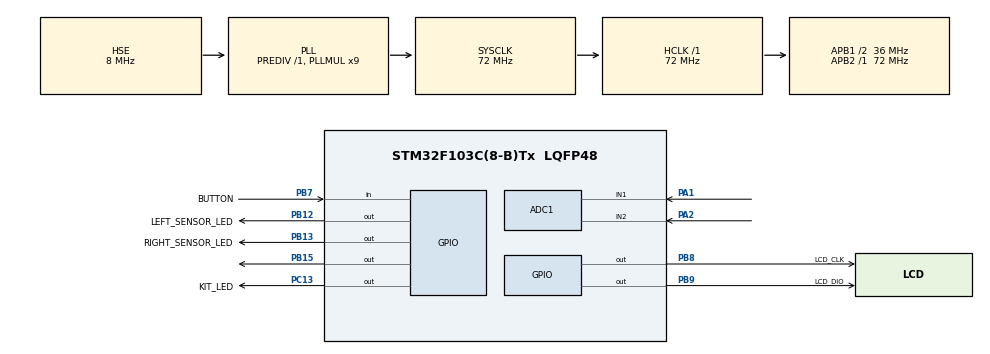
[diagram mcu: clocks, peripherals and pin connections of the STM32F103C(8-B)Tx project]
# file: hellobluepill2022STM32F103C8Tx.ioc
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ADC1.Channel-4\#ChannelRegularConversion=ADC_CHANNEL_1
ADC1.Channel-5\#ChannelRegularConversion=ADC_CHANNEL_2
ADC1.ContinuousConvMode=DISABLE
ADC1.EnableInjectedConversion=DISABLE
ADC1.EnableRegularConversion=ENABLE
ADC1.ExternalTrigConv=ADC_EXTERNALTRIGCONV_T3_TRGO
ADC1.NbrOfConversion=2
ADC1.NbrOfConversionFlag=1
ADC1.Rank-4\#ChannelRegularConversion=1
ADC1.Rank-5\#ChannelRegularConversion=2
ADC1.SamplingTime-4\#ChannelRegularConversion=ADC_SAMPLETIME_1CYCLE_5
ADC1.SamplingTime-5\#ChannelRegularConversion=ADC_SAMPLETIME_1CYCLE_5
ADC1.master=1
Dma.ADC1.0.Direction=DMA_PERIPH_TO_MEMORY
Dma.ADC1.0.Instance=DMA1_Channel1
Dma.ADC1.0.MemDataAlignment=DMA_MDATAALIGN_WORD
Dma.ADC1.0.MemInc=DMA_MINC_ENABLE
Dma.ADC1.0.Mode=DMA_CIRCULAR
Dma.ADC1.0.PeriphDataAlignment=DMA_PDATAALIGN_WORD
Dma.ADC1.0.PeriphInc=DMA_PINC_DISABLE
Dma.ADC1.0.Priority=DMA_PRIORITY_MEDIUM
Dma.Request0=ADC1
FREERTOS.BinarySemaphores01=MainStateSemaphore,Static,myBinarySem01ControlBlock
FREERTOS.Events01=CounterEvents,Static,CounterEventsControlBlock
FREERTOS.Tasks01=defaultTask,24,128,StartDefaultTask,Default,NULL,Static,defaultTaskBuffer,defaultTaskControlBlock;MainTask,10,128,MainTaskCode,As external,NULL,Static,MainTaskBuffer,MainTaskControlBlock;DebounceTask,10,256,DebounceTaskCode,As external,NULL,Static,DebounceTaskBuffer,DebounceTaskControlBlock;EventHandlerTas,11,256,EventHandlerTaskCode,As external,NULL,Static,EventHandlerTasBuffer,EventHandlerTasControlBlock
FREERTOS.Timers01=EventTaskTimer,EventTaskTimerCallback,osTimerOnce,As external,NULL,Static,EventTaskTimerControlBlock
Mcu.Family=STM32F1
Mcu.Name=STM32F103C(8-B)Tx
Mcu.Package=LQFP48
NVIC.DMA1_Channel1_IRQn=true\:5\:0\:false\:false\:true\:true\:false\:true\:true
NVIC.PriorityGroup=NVIC_PRIORITYGROUP_4
NVIC.TIM2_IRQn=true\:5\:0\:false\:false\:true\:true\:true\:true\:true
NVIC.TIM4_IRQn=true\:15\:0\:false\:false\:true\:false\:false\:true\:true
NVIC.TimeBase=TIM4_IRQn
NVIC.TimeBaseIP=TIM4
PA1.Signal=ADCx_IN1
PA13.Mode=Serial_Wire
PA13.Signal=SYS_JTMS-SWDIO
PA14.Mode=Serial_Wire
PA14.Signal=SYS_JTCK-SWCLK
PA2.Signal=ADCx_IN2
PB12.GPIO_Label=LEFT_SENSOR_LED
PB12.Signal=GPIO_Output
PB13.GPIO_Label=RIGHT_SENSOR_LED
PB13.Signal=GPIO_Output
PB15.Signal=GPIO_Output
PB7.GPIO_Label=BUTTON
PB7.GPIO_PuPd=GPIO_PULLUP
PB7.Signal=GPIO_Input
PB8.GPIO_Label=LCD_CLK
PB8.GPIO_ModeDefaultOutputPP=GPIO_MODE_OUTPUT_OD
PB8.GPIO_PuPd=GPIO_PULLUP
PB8.GPIO_Speed=GPIO_SPEED_FREQ_HIGH
PB8.Signal=GPIO_Output
PB9.GPIO_Label=LCD_DIO
PB9.GPIO_ModeDefaultOutputPP=GPIO_MODE_OUTPUT_OD
PB9.GPIO_PuPd=GPIO_PULLUP
PB9.GPIO_Speed=GPIO_SPEED_FREQ_HIGH
PB9.Signal=GPIO_Output
PC13-TAMPER-RTC.GPIO_Label=KIT_LED
PC13-TAMPER-RTC.Signal=GPIO_Output
PC14-OSC32_IN.Mode=LSE-External-Oscillator
PC14-OSC32_IN.Signal=RCC_OSC32_IN
PC15-OSC32_OUT.Mode=LSE-External-Oscillator
PC15-OSC32_OUT.Signal=RCC_OSC32_OUT
PD0-OSC_IN.Mode=HSE-External-Oscillator
PD0-OSC_IN.Signal=RCC_OSC_IN
PD1-OSC_OUT.Mode=HSE-External-Oscillator
PD1-OSC_OUT.Signal=RCC_OSC_OUT
ProjectManager.HeapSize=0x200
ProjectManager.StackSize=0x400
ProjectManager.TargetToolchain=Makefile
RCC.ADCPresc=RCC_ADCPCLK2_DIV6
RCC.AHBFreq_Value=72000000
RCC.APB1CLKDivider=RCC_HCLK_DIV2
RCC.APB1Freq_Value=36000000
RCC.APB1TimFreq_Value=72000000
RCC.APB2Freq_Value=72000000
RCC.APB2TimFreq_Value=72000000
RCC.HCLKFreq_Value=72000000
RCC.PLLMUL=RCC_PLL_MUL9
RCC.PLLSourceVirtual=RCC_PLLSOURCE_HSE
RCC.SYSCLKFreq_VALUE=72000000
RCC.SYSCLKSource=RCC_SYSCLKSOURCE_PLLCLK
RCC.USBFreq_Value=48000000
RCC.USBPrescaler=RCC_USBCLKSOURCE_PLL_DIV1_5
SH.ADCx_IN1.0=ADC1_IN1,IN1
SH.ADCx_IN2.0=ADC1_IN2,IN2
TIM2.Period=65532
TIM2.Prescaler=10987-1
TIM2.TIM_MasterOutputTrigger=TIM_TRGO_OC1REF
TIM3.AutoReloadPreload=TIM_AUTORELOAD_PRELOAD_ENABLE
TIM3.Period=1000
TIM3.Prescaler=72-1
TIM3.TIM_MasterOutputTrigger=TIM_TRGO_UPDATE
VP_FREERTOS_VS_CMSIS_V2.Mode=CMSIS_V2
VP_SYS_VS_tim4.Mode=TIM4
VP_TIM2_VS_ClockSourceINT.Mode=Internal
VP_TIM3_VS_ClockSourceINT.Mode=Internal
board=custom

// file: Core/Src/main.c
/* USER CODE BEGIN Header */
/**
  ******************************************************************************
  * @file           : main.c
  * @brief          : Main program body
  ******************************************************************************
  * @attention
  *
  * Copyright (c) 2022 STMicroelectronics.
  * All rights reserved.
  *
  * This software is licensed under terms that can be found in the LICENSE file
  * in the root directory of this software component.
  * If no LICENSE file comes with this software, it is provided AS-IS.
  *
  ******************************************************************************
  */
/* USER CODE END Header */
#include "main.h"
#include "cmsis_os.h"

/* USER CODE BEGIN Includes */
volatile uint32_t gReads[2];
volatile uint32_t test=0;
/* USER CODE END Includes */

typedef StaticTask_t osStaticThreadDef_t;
typedef StaticTimer_t osStaticTimerDef_t;
typedef StaticSemaphore_t osStaticSemaphoreDef_t;
typedef StaticEventGroup_t osStaticEventGroupDef_t;

ADC_HandleTypeDef hadc1;
DMA_HandleTypeDef hdma_adc1;

TIM_HandleTypeDef htim2;
TIM_HandleTypeDef htim3;

/* Definitions for defaultTask */
osThreadId_t defaultTaskHandle;
uint32_t defaultTaskBuffer[ 128 ];
osStaticThreadDef_t defaultTaskControlBlock;
const osThreadAttr_t defaultTask_attributes = {
  .name = "defaultTask",
  .cb_mem = &defaultTaskControlBlock,
  .cb_size = sizeof(defaultTaskControlBlock),
  .stack_mem = &defaultTaskBuffer[0],
  .stack_size = sizeof(defaultTaskBuffer),
  .priority = (osPriority_t) osPriorityNormal,
};
/* Definitions for MainTask */
osThreadId_t MainTaskHandle;
uint32_t MainTaskBuffer[ 128 ];
osStaticThreadDef_t MainTaskControlBlock;
const osThreadAttr_t MainTask_attributes = {
  .name = "MainTask",
  .cb_mem = &MainTaskControlBlock,
  .cb_size = sizeof(MainTaskControlBlock),
  .stack_mem = &MainTaskBuffer[0],
  .stack_size = sizeof(MainTaskBuffer),
  .priority = (osPriority_t) osPriorityLow2,
};
/* Definitions for DebounceTask */
osThreadId_t DebounceTaskHandle;
uint32_t DebounceTaskBuffer[ 256 ];
osStaticThreadDef_t DebounceTaskControlBlock;
const osThreadAttr_t DebounceTask_attributes = {
  .name = "DebounceTask",
  .cb_mem = &DebounceTaskControlBlock,
  .cb_size = sizeof(DebounceTaskControlBlock),
  .stack_mem = &DebounceTaskBuffer[0],
  .stack_size = sizeof(DebounceTaskBuffer),
  .priority = (osPriority_t) osPriorityLow2,
};
/* Definitions for EventHandlerTas */
osThreadId_t EventHandlerTasHandle;
uint32_t EventHandlerTasBuffer[ 256 ];
osStaticThreadDef_t EventHandlerTasControlBlock;
const osThreadAttr_t EventHandlerTas_attributes = {
  .name = "EventHandlerTas",
  .cb_mem = &EventHandlerTasControlBlock,
  .cb_size = sizeof(EventHandlerTasControlBlock),
  .stack_mem = &EventHandlerTasBuffer[0],
  .stack_size = sizeof(EventHandlerTasBuffer),
  .priority = (osPriority_t) osPriorityLow3,
};
/* Definitions for EventTaskTimer */
osTimerId_t EventTaskTimerHandle;
osStaticTimerDef_t EventTaskTimerControlBlock;
const osTimerAttr_t EventTaskTimer_attributes = {
  .name = "EventTaskTimer",
  .cb_mem = &EventTaskTimerControlBlock,
  .cb_size = sizeof(EventTaskTimerControlBlock),
};
/* Definitions for MainStateSemaphore */
osSemaphoreId_t MainStateSemaphoreHandle;
osStaticSemaphoreDef_t myBinarySem01ControlBlock;
const osSemaphoreAttr_t MainStateSemaphore_attributes = {
  .name = "MainStateSemaphore",
  .cb_mem = &myBinarySem01ControlBlock,
  .cb_size = sizeof(myBinarySem01ControlBlock),
};
/* Definitions for CounterEvents */
osEventFlagsId_t CounterEventsHandle;
osStaticEventGroupDef_t CounterEventsControlBlock;
const osEventFlagsAttr_t CounterEvents_attributes = {
  .name = "CounterEvents",
  .cb_mem = &CounterEventsControlBlock,
  .cb_size = sizeof(CounterEventsControlBlock),
};

void SystemClock_Config(void);
static void MX_GPIO_Init(void);
static void MX_DMA_Init(void);
static void MX_TIM3_Init(void);
static void MX_ADC1_Init(void);
static void MX_TIM2_Init(void);
void StartDefaultTask(void *argument);
extern void MainTaskCode(void *argument);
extern void DebounceTaskCode(void *argument);
extern void EventHandlerTaskCode(void *argument);
extern void EventTaskTimerCallback(void *argument);

/* USER CODE BEGIN 0 */
extern volatile uint32_t gSensorTime[2];
const volatile int uxTopUsedPriority = configMAX_PRIORITIES - 1;
/* USER CODE END 0 */

int main(void)
{
  /* USER CODE BEGIN 1 */
  (void)uxTopUsedPriority; //this declaration enables thread awareness for FreeRTOS using OpenOCD
  uint32_t i;
  /* USER CODE END 1 */

  /* MCU Configuration--------------------------------------------------------*/

  /* Reset of all peripherals, Initializes the Flash interface and the Systick. */
  HAL_Init();

  /* Configure the system clock */
  SystemClock_Config();

  /* Initialize all configured peripherals */
  MX_GPIO_Init();
  MX_DMA_Init();
  MX_TIM3_Init();
  MX_ADC1_Init();
  MX_TIM2_Init();
  /* USER CODE BEGIN 2 */
  HAL_TIM_Base_Start(&htim3);
  HAL_ADC_Start_DMA(&hadc1, (uint32_t *)gReads, 2);
  /* USER CODE END 2 */

  /* Init scheduler */
  osKernelInitialize();

  /* Create the semaphores(s) */
  /* creation of MainStateSemaphore */
  MainStateSemaphoreHandle = osSemaphoreNew(1, 1, &MainStateSemaphore_attributes);

  /* Create the timer(s) */
  /* creation of EventTaskTimer */
  EventTaskTimerHandle = osTimerNew(EventTaskTimerCallback, osTimerOnce, NULL, &EventTaskTimer_attributes);

  /* Create the thread(s) */
  /* creation of defaultTask */
  defaultTaskHandle = osThreadNew(StartDefaultTask, NULL, &defaultTask_attributes);

  /* creation of MainTask */
  MainTaskHandle = osThreadNew(MainTaskCode, NULL, &MainTask_attributes);

  /* creation of DebounceTask */
  DebounceTaskHandle = osThreadNew(DebounceTaskCode, NULL, &DebounceTask_attributes);

  /* creation of EventHandlerTas */
  EventHandlerTasHandle = osThreadNew(EventHandlerTaskCode, NULL, &EventHandlerTas_attributes);

  /* Create the event(s) */
  /* creation of CounterEvents */
  CounterEventsHandle = osEventFlagsNew(&CounterEvents_attributes);

  /* Start scheduler */
  osKernelStart();

  /* We should never get here as control is now taken by the scheduler */
  /* Infinite loop */
  /* USER CODE BEGIN WHILE */
  while (1)
  {
    for (i = 0; i < 13; i++)
    {
      HAL_GPIO_WritePin(KIT_LED_GPIO_Port, KIT_LED_Pin, 0);
      HAL_Delay(25);
      HAL_GPIO_WritePin(KIT_LED_GPIO_Port, KIT_LED_Pin, 1);
      HAL_Delay(50);
    }
    HAL_Delay(800);

    /* USER CODE END WHILE */

  }
}

void SystemClock_Config(void)
{
  RCC_OscInitTypeDef RCC_OscInitStruct = {0};
  RCC_ClkInitTypeDef RCC_ClkInitStruct = {0};
  RCC_PeriphCLKInitTypeDef PeriphClkInit = {0};

  /** Initializes the RCC Oscillators according to the specified parameters
  * in the RCC_OscInitTypeDef structure.
  */
  RCC_OscInitStruct.OscillatorType = RCC_OSCILLATORTYPE_HSE;
  RCC_OscInitStruct.HSEState = RCC_HSE_ON;
  RCC_OscInitStruct.HSEPredivValue = RCC_HSE_PREDIV_DIV1;
  RCC_OscInitStruct.HSIState = RCC_HSI_ON;
  RCC_OscInitStruct.PLL.PLLState = RCC_PLL_ON;
  RCC_OscInitStruct.PLL.PLLSource = RCC_PLLSOURCE_HSE;
  RCC_OscInitStruct.PLL.PLLMUL = RCC_PLL_MUL9;
  if (HAL_RCC_OscConfig(&RCC_OscInitStruct) != HAL_OK)
  {
    Error_Handler();
  }

  /** Initializes the CPU, AHB and APB buses clocks
  */
  RCC_ClkInitStruct.ClockType = RCC_CLOCKTYPE_HCLK|RCC_CLOCKTYPE_SYSCLK
                              |RCC_CLOCKTYPE_PCLK1|RCC_CLOCKTYPE_PCLK2;
  RCC_ClkInitStruct.SYSCLKSource = RCC_SYSCLKSOURCE_PLLCLK;
  RCC_ClkInitStruct.AHBCLKDivider = RCC_SYSCLK_DIV1;
  RCC_ClkInitStruct.APB1CLKDivider = RCC_HCLK_DIV2;
  RCC_ClkInitStruct.APB2CLKDivider = RCC_HCLK_DIV1;

  if (HAL_RCC_ClockConfig(&RCC_ClkInitStruct, FLASH_LATENCY_2) != HAL_OK)
  {
    Error_Handler();
  }
  PeriphClkInit.PeriphClockSelection = RCC_PERIPHCLK_ADC;
  PeriphClkInit.AdcClockSelection = RCC_ADCPCLK2_DIV6;
  if (HAL_RCCEx_PeriphCLKConfig(&PeriphClkInit) != HAL_OK)
  {
    Error_Handler();
  }
}

static void MX_ADC1_Init(void)
{

  ADC_ChannelConfTypeDef sConfig = {0};

  /** Common config
  */
  hadc1.Instance = ADC1;
  hadc1.Init.ScanConvMode = ADC_SCAN_ENABLE;
  hadc1.Init.ContinuousConvMode = DISABLE;
  hadc1.Init.DiscontinuousConvMode = DISABLE;
  hadc1.Init.ExternalTrigConv = ADC_EXTERNALTRIGCONV_T3_TRGO;
  hadc1.Init.DataAlign = ADC_DATAALIGN_RIGHT;
  hadc1.Init.NbrOfConversion = 2;
  if (HAL_ADC_Init(&hadc1) != HAL_OK)
  {
    Error_Handler();
  }

  /** Configure Regular Channel
  */
  sConfig.Channel = ADC_CHANNEL_1;
  sConfig.Rank = ADC_REGULAR_RANK_1;
  sConfig.SamplingTime = ADC_SAMPLETIME_1CYCLE_5;
  if (HAL_ADC_ConfigChannel(&hadc1, &sConfig) != HAL_OK)
  {
    Error_Handler();
  }

  /** Configure Regular Channel
  */
  sConfig.Channel = ADC_CHANNEL_2;
  sConfig.Rank = ADC_REGULAR_RANK_2;
  if (HAL_ADC_ConfigChannel(&hadc1, &sConfig) != HAL_OK)
  {
    Error_Handler();
  }
  /* USER CODE BEGIN ADC1_Init 2 */
  // Calibrate The ADC On Power-Up For Better Accuracy
  HAL_ADCEx_Calibration_Start(&hadc1);
  /* USER CODE END ADC1_Init 2 */

}

static void MX_TIM2_Init(void)
{

  TIM_ClockConfigTypeDef sClockSourceConfig = {0};
  TIM_MasterConfigTypeDef sMasterConfig = {0};

  htim2.Instance = TIM2;
  htim2.Init.Prescaler = 10987-1;
  htim2.Init.CounterMode = TIM_COUNTERMODE_UP;
  htim2.Init.Period = 65532;
  htim2.Init.ClockDivision = TIM_CLOCKDIVISION_DIV1;
  htim2.Init.AutoReloadPreload = TIM_AUTORELOAD_PRELOAD_DISABLE;
  if (HAL_TIM_Base_Init(&htim2) != HAL_OK)
  {
    Error_Handler();
  }
  sClockSourceConfig.ClockSource = TIM_CLOCKSOURCE_INTERNAL;
  if (HAL_TIM_ConfigClockSource(&htim2, &sClockSourceConfig) != HAL_OK)
  {
    Error_Handler();
  }
  sMasterConfig.MasterOutputTrigger = TIM_TRGO_OC1REF;
  sMasterConfig.MasterSlaveMode = TIM_MASTERSLAVEMODE_DISABLE;
  if (HAL_TIMEx_MasterConfigSynchronization(&htim2, &sMasterConfig) != HAL_OK)
  {
    Error_Handler();
  }

}

static void MX_TIM3_Init(void)
{

  TIM_ClockConfigTypeDef sClockSourceConfig = {0};
  TIM_MasterConfigTypeDef sMasterConfig = {0};

  htim3.Instance = TIM3;
  htim3.Init.Prescaler = 72-1;
  htim3.Init.CounterMode = TIM_COUNTERMODE_UP;
  htim3.Init.Period = 1000;
  htim3.Init.ClockDivision = TIM_CLOCKDIVISION_DIV1;
  htim3.Init.AutoReloadPreload = TIM_AUTORELOAD_PRELOAD_ENABLE;
  if (HAL_TIM_Base_Init(&htim3) != HAL_OK)
  {
    Error_Handler();
  }
  sClockSourceConfig.ClockSource = TIM_CLOCKSOURCE_INTERNAL;
  if (HAL_TIM_ConfigClockSource(&htim3, &sClockSourceConfig) != HAL_OK)
  {
    Error_Handler();
  }
  sMasterConfig.MasterOutputTrigger = TIM_TRGO_UPDATE;
  sMasterConfig.MasterSlaveMode = TIM_MASTERSLAVEMODE_DISABLE;
  if (HAL_TIMEx_MasterConfigSynchronization(&htim3, &sMasterConfig) != HAL_OK)
  {
    Error_Handler();
  }

}

static void MX_DMA_Init(void)
{

  /* DMA controller clock enable */
  __HAL_RCC_DMA1_CLK_ENABLE();

  /* DMA interrupt init */
  /* DMA1_Channel1_IRQn interrupt configuration */
  HAL_NVIC_SetPriority(DMA1_Channel1_IRQn, 5, 0);
  HAL_NVIC_EnableIRQ(DMA1_Channel1_IRQn);

}

static void MX_GPIO_Init(void)
{
  GPIO_InitTypeDef GPIO_InitStruct = {0};

  /* GPIO Ports Clock Enable */
  __HAL_RCC_GPIOC_CLK_ENABLE();
  __HAL_RCC_GPIOD_CLK_ENABLE();
  __HAL_RCC_GPIOA_CLK_ENABLE();
  __HAL_RCC_GPIOB_CLK_ENABLE();

  /*Configure GPIO pin Output Level */
  HAL_GPIO_WritePin(KIT_LED_GPIO_Port, KIT_LED_Pin, GPIO_PIN_RESET);

  /*Configure GPIO pin Output Level */
  HAL_GPIO_WritePin(GPIOB, LEFT_SENSOR_LED_Pin|RIGHT_SENSOR_LED_Pin|GPIO_PIN_15|LCD_CLK_Pin
                          |LCD_DIO_Pin, GPIO_PIN_RESET);

  /*Configure GPIO pin : KIT_LED_Pin */
  GPIO_InitStruct.Pin = KIT_LED_Pin;
  GPIO_InitStruct.Mode = GPIO_MODE_OUTPUT_PP;
  GPIO_InitStruct.Pull = GPIO_NOPULL;
  GPIO_InitStruct.Speed = GPIO_SPEED_FREQ_LOW;
  HAL_GPIO_Init(KIT_LED_GPIO_Port, &GPIO_InitStruct);

  /*Configure GPIO pins : LEFT_SENSOR_LED_Pin RIGHT_SENSOR_LED_Pin PB15 */
  GPIO_InitStruct.Pin = LEFT_SENSOR_LED_Pin|RIGHT_SENSOR_LED_Pin|GPIO_PIN_15;
  GPIO_InitStruct.Mode = GPIO_MODE_OUTPUT_PP;
  GPIO_InitStruct.Pull = GPIO_NOPULL;
  GPIO_InitStruct.Speed = GPIO_SPEED_FREQ_LOW;
  HAL_GPIO_Init(GPIOB, &GPIO_InitStruct);

  /*Configure GPIO pin : BUTTON_Pin */
  GPIO_InitStruct.Pin = BUTTON_Pin;
  GPIO_InitStruct.Mode = GPIO_MODE_INPUT;
  GPIO_InitStruct.Pull = GPIO_PULLUP;
  HAL_GPIO_Init(BUTTON_GPIO_Port, &GPIO_InitStruct);

  /*Configure GPIO pins : LCD_CLK_Pin LCD_DIO_Pin */
  GPIO_InitStruct.Pin = LCD_CLK_Pin|LCD_DIO_Pin;
  GPIO_InitStruct.Mode = GPIO_MODE_OUTPUT_OD;
  GPIO_InitStruct.Pull = GPIO_PULLUP;
  GPIO_InitStruct.Speed = GPIO_SPEED_FREQ_HIGH;
  HAL_GPIO_Init(GPIOB, &GPIO_InitStruct);

}

/* USER CODE BEGIN 4 */

//turn on the and let LDR stabilize
static inline void leds_on()
{
      HAL_GPIO_WritePin(LEFT_SENSOR_LED_GPIO_Port, LEFT_SENSOR_LED_Pin, 1);
      HAL_GPIO_WritePin(RIGHT_SENSOR_LED_GPIO_Port, RIGHT_SENSOR_LED_Pin, 1);
}

static inline void leds_off()
{
      HAL_GPIO_WritePin(LEFT_SENSOR_LED_GPIO_Port, LEFT_SENSOR_LED_Pin, 0);
      HAL_GPIO_WritePin(RIGHT_SENSOR_LED_GPIO_Port, RIGHT_SENSOR_LED_Pin, 0);
}

#define LONG_AVG_SIZE (32)
volatile uint32_t gLongSum[2] = {0,0};
volatile uint32_t gLongAvg[2] = {0,0};
uint32_t gLongValues[2][LONG_AVG_SIZE]={{0,0,0,0,0,0,0,0,0,0,0,0,0,0,0,0,0,0,0,0,0,0,0,0,0,0,0,0,0,0,0,0},{0,0,0,0,0,0,0,0,0,0,0,0,0,0,0,0,0,0,0,0,0,0,0,0,0,0,0,0,0,0,0,0}};
uint32_t gLongPtr[2]={0,0};

#define SHORT_AVG_SIZE (4)
volatile uint32_t gShortSum[2] = {0,0};
volatile uint32_t gShortAvg[2] = {0,0};
uint32_t gShortValues[2][SHORT_AVG_SIZE]={{0,0,0,0},{0,0,0,0}};
uint32_t gShortPtr[2]={0,0};

volatile SAMPLING_STATE gSamplingState = WARMING_LEDS_OFF;

void HAL_ADC_ConvCpltCallback(ADC_HandleTypeDef *hadc)
{
  static float left_channel_avg=0;
  static float right_channel_avg=0;
  static uint32_t warming_counter = 0;
  ADC_ChannelConfTypeDef sConfig = {0};
  const float alpha = 0.8;
  const uint32_t DetectionThreshold = 300;

  if(hadc == &hadc1)
  {
    HAL_GPIO_TogglePin(GPIOB,GPIO_PIN_15);
    switch (gSamplingState)
    {
    case WARMING_UP:
    case SAMPLING:
    {
      for(uint32_t i=0;i<2;i++)
      {
        gLongSum[i] -= gLongValues[i][gLongPtr[i]];
        gLongValues[i][gLongPtr[i]] = gReads[i];
        gLongSum[i] += gReads[i];
        gLongPtr[i] = (gLongPtr[i]+1) % LONG_AVG_SIZE;
        gLongAvg[i] = gLongSum[i] >> 5; // same as gAvg[i] = gSum[i] / 32;
      }
      for (uint32_t i = 0; i < 2; i++)
      {
        gShortSum[i] -= gShortValues[i][gShortPtr[i]];
        gShortValues[i][gShortPtr[i]] = gReads[i];
        gShortSum[i] += gReads[i];
        gShortPtr[i] = (gShortPtr[i]+1) % SHORT_AVG_SIZE;
        gShortAvg[i] = gShortSum[i] >> 2; // same as gAvg[i] = gSum[i] / 4;
      }
      leds_off();
      break;
    }
    }
    switch (gSamplingState)
    {
    case WARMING_UP:
    {
      if(gLongPtr[0]==LONG_AVG_SIZE-1)
      {
        gSamplingState = SAMPLING_LEDS_OFF;
      }
      else
      {
        gSamplingState = WARMING_LEDS_OFF;
      }
      break;
    }
    case SAMPLING:
    {
      for (uint32_t i = 0; i < 2; i++)
      {
        if(gShortAvg[i] > gLongAvg[i] + DetectionThreshold)
        {
          gSensorTime[i] = __HAL_TIM_GetCounter(&htim2);
          osEventFlagsSet(CounterEventsHandle, SENSOR_TRIGGER_FLAG);
        }
      }
      gSamplingState = SAMPLING_LEDS_OFF;
      leds_off();
      break;
    }
    case SAMPLING_LEDS_OFF:
    {
      leds_on();
      gSamplingState = SAMPLING;
      break;
    }
    case WARMING_LEDS_OFF:
    {
      leds_on();
      gSamplingState = WARMING_UP;
      break;
    }
    default:
      break;
    }
  }
}

volatile uint32_t gTimingStarted = 0;

/* USER CODE END 4 */

void StartDefaultTask(void *argument)
{
  for(;;)
  {
    osDelay(1);
  }
}

void HAL_TIM_PeriodElapsedCallback(TIM_HandleTypeDef *htim)
{
  /* USER CODE BEGIN Callback 0 */
  ADC_ChannelConfTypeDef sConfig = {0};
  if (htim==&htim2)
  {
    if (gTimingStarted)
    {
      HAL_TIM_Base_Stop_IT(&htim2);
      osEventFlagsSet(CounterEventsHandle, TIMER_OVERFLOW_FLAG);
    }
    else
    {
      gTimingStarted = 1;
    }
  }

  /* USER CODE END Callback 0 */
  if (htim->Instance == TIM4) {
    HAL_IncTick();
  }
}

void Error_Handler(void)
{
  __disable_irq();
  while (1)
  {
  }
}
